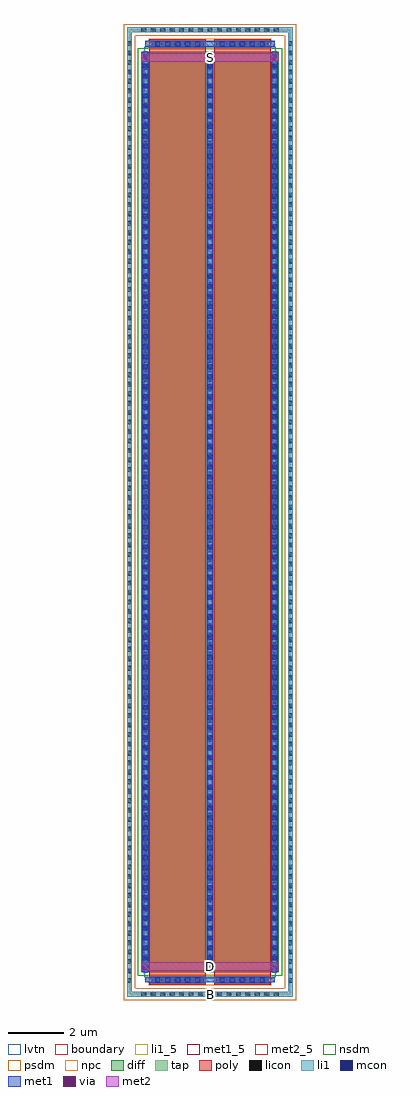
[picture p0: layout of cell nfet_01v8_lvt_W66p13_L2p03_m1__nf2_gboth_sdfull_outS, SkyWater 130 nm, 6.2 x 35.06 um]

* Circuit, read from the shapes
.subckt nfet_01v8_lvt_W66p13_L2p03_m1__nf2_gboth_sdfull_outS B D G S
XM1 D G S B sky130_fd_pr__nfet_01v8_lvt w=33.07 l=2.03 m=2
.ends

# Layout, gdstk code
import gdstk
lib = gdstk.Library(unit=1e-6, precision=1e-09)
def R(c, l, rs):  # rectangles x0, y0, x1, y1
    for r in rs: c.add(gdstk.rectangle(r[:2], r[2:], *l))
def A(c, l, x, y, w, h, nx, ny, dx, dy):  # array of equal rectangles
    R(c, l, [(x+i*dx, y+j*dy, x+i*dx+w, y+j*dy+h) for i in range(nx) for j in range(ny)])
diff = (65, 20)
tap = (65, 44)
poly = (66, 20)
licon = (66, 44)
li1_5 = (67, 5)
li1 = (67, 20)
mcon = (67, 44)
met1_5 = (68, 5)
met1 = (68, 20)
via = (68, 44)
met2_5 = (69, 5)
met2 = (69, 20)
nsdm = (93, 44)
psdm = (94, 20)
npc = (95, 20)
lvtn = (125, 44)
boundary = (235, 4)

sky130_fd_pr__nfet_01v8_ = lib.new_cell('sky130_fd_pr__nfet_01v8_lvt_CMSLZU')
R(sky130_fd_pr__nfet_01v8_, diff, [(-2.465,-16.535,2.465,16.535)])
R(sky130_fd_pr__nfet_01v8_, tap, [(-2.975,-17.405,2.975,-17.235), (-2.975,-17.235,-2.805,17.235), (2.805,-17.235,2.975,17.235), (-2.975,17.235,2.975,17.405)])
R(sky130_fd_pr__nfet_01v8_, poly, [(-2.175,-16.975,-0.145,16.975), (0.145,-16.975,2.175,16.975)])
A(sky130_fd_pr__nfet_01v8_, licon, -2.465, -17.405, 0.17, 0.17, 15, 2, 0.34, 34.64)
A(sky130_fd_pr__nfet_01v8_, licon, -2.975, -16.915, 0.17, 0.17, 1, 100, 0, 0.34)
A(sky130_fd_pr__nfet_01v8_, licon, 2.805, -16.915, 0.17, 0.17, 1, 100, 0, 0.34)
A(sky130_fd_pr__nfet_01v8_, licon, -2.095, -16.895, 0.17, 0.17, 6, 2, 0.34, 33.62)
A(sky130_fd_pr__nfet_01v8_, licon, 0.225, -16.895, 0.17, 0.17, 6, 2, 0.34, 33.62)
A(sky130_fd_pr__nfet_01v8_, licon, -2.405, -16.405, 0.17, 0.17, 3, 97, 2.32, 0.34)
A(sky130_fd_pr__nfet_01v8_, li1, -2.405, -16.555, 0.17, 33.11, 3, 1, 2.32, 0)
R(sky130_fd_pr__nfet_01v8_, li1, [(-2.975,-17.405,2.975,-17.235), (-2.975,-17.235,-2.805,17.235), (2.805,-17.235,2.975,17.235), (-2.32,-16.895,2.32,-16.725), (-2.32,16.725,2.32,16.895), (-2.975,17.235,2.975,17.405)])
A(sky130_fd_pr__nfet_01v8_, mcon, -1.965, -16.895, 0.17, 0.17, 5, 2, 0.36, 33.62)
A(sky130_fd_pr__nfet_01v8_, mcon, 0.355, -16.895, 0.17, 0.17, 5, 2, 0.36, 33.62)
A(sky130_fd_pr__nfet_01v8_, mcon, -2.405, -16.465, 0.17, 0.17, 3, 92, 2.32, 0.36)
A(sky130_fd_pr__nfet_01v8_, met1, -2.435, -16.535, 0.23, 33.07, 3, 1, 2.32, 0)
R(sky130_fd_pr__nfet_01v8_, met1, [(-2.155,-16.925,-0.165,-16.895), (0.165,-16.925,2.155,-16.895), (-2.32,-16.895,2.32,-16.725), (-2.155,-16.725,-0.165,-16.695), (0.165,-16.725,2.155,-16.695), (-2.155,16.695,-0.165,16.725), (0.165,16.695,2.155,16.725), (-2.32,16.725,2.32,16.895), (-2.155,16.895,-0.165,16.925), (0.165,16.895,2.155,16.925)])
R(sky130_fd_pr__nfet_01v8_, nsdm, [(-2.59,-16.66,2.59,16.66)])
R(sky130_fd_pr__nfet_01v8_, psdm, [(-3.1,-17.53,3.1,-17.11), (-3.1,-17.11,-2.68,17.11), (2.68,-17.11,3.1,17.11), (-3.1,17.11,3.1,17.53)])
R(sky130_fd_pr__nfet_01v8_, npc, [(-2.195,-16.995,2.195,-16.625), (-2.195,16.625,2.195,16.995)])
R(sky130_fd_pr__nfet_01v8_, lvtn, [(-2.355,-16.715,2.355,16.715)])
R(sky130_fd_pr__nfet_01v8_, boundary, [(-2.89,-17.32,2.89,17.32)])
sky130_fd_pr__nfet_01v8_.add(gdstk.Label('B', (0,-17.32), layer=67, texttype=5))
sky130_fd_pr__nfet_01v8_.add(gdstk.Label('D0', (-2.32,0), layer=67, texttype=5))
sky130_fd_pr__nfet_01v8_.add(gdstk.Label('G', (1.16,16.81), layer=67, texttype=5))
sky130_fd_pr__nfet_01v8_.add(gdstk.Label('G', (-1.16,16.81), layer=67, texttype=5))
sky130_fd_pr__nfet_01v8_.add(gdstk.Label('S1', (0,0), layer=67, texttype=5))

nfet_01v8_lvt_w66p13_l2p = lib.new_cell('nfet_01v8_lvt_W66p13_L2p03_m1__nf2_gboth_sdfull_outS')
R(nfet_01v8_lvt_w66p13_l2p, li1_5, [(2.805,-0.085,2.975,0.085)])
R(nfet_01v8_lvt_w66p13_l2p, li1, [(2.805,-0.085,2.975,0.085)])
R(nfet_01v8_lvt_w66p13_l2p, met1_5, [(0.57,34.015,5.21,34.245)])
R(nfet_01v8_lvt_w66p13_l2p, met1, [(2.76,0.835,3.02,1.155), (0.44,33.485,0.7,33.805), (5.08,33.485,5.34,33.805), (0.57,34.015,5.21,34.245)])
R(nfet_01v8_lvt_w66p13_l2p, via, [(2.815,0.92,2.965,1.07), (0.495,33.57,0.645,33.72), (5.135,33.57,5.285,33.72)])
R(nfet_01v8_lvt_w66p13_l2p, met2_5, [(0.435,0.835,5.345,1.155), (0.435,33.485,5.345,33.805)])
R(nfet_01v8_lvt_w66p13_l2p, met2, [(0.435,0.835,5.345,1.155), (0.435,33.485,5.345,33.805)])
nfet_01v8_lvt_w66p13_l2p.add(gdstk.Reference(sky130_fd_pr__nfet_01v8_, (2.89,17.32)))
nfet_01v8_lvt_w66p13_l2p.add(gdstk.Label('S', (2.89,33.645), layer=69, texttype=5))
nfet_01v8_lvt_w66p13_l2p.add(gdstk.Label('D', (2.89,0.995), layer=69, texttype=5))
nfet_01v8_lvt_w66p13_l2p.add(gdstk.Label('G', (2.89,34.13), layer=68, texttype=5))
nfet_01v8_lvt_w66p13_l2p.add(gdstk.Label('B', (2.89,0), layer=67, texttype=5))

lib.write_gds('nfet_01v8_lvt_W66p13_L2p03_m1__nf2_gboth_sdfull_outS.gds')
